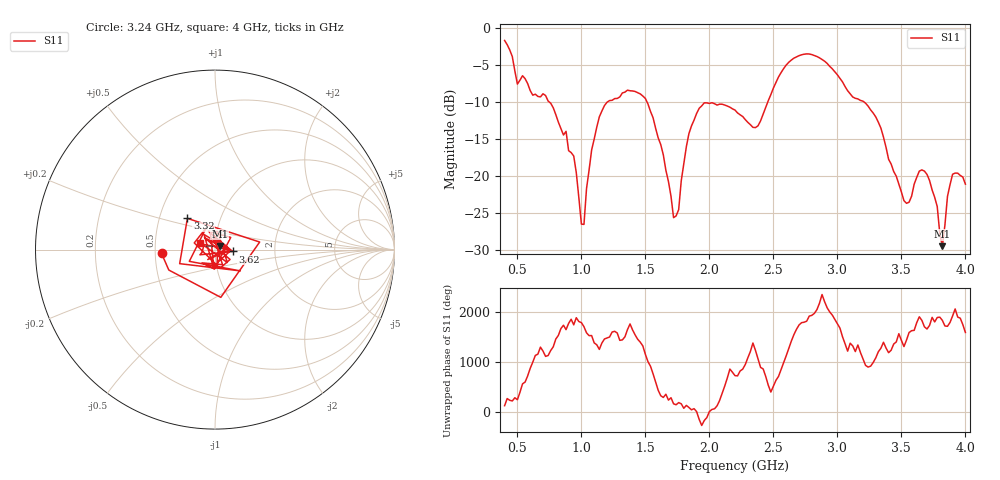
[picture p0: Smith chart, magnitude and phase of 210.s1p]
!Created with skrf (http://scikit-rf.org).
# Hz S RI R 50.0
!freq ReS11 ImS11
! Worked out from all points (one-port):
!   181 points, 400 MHz to 4 GHz, reference 50 ohm
!   lowest |S11| = -29.4 dB at 3.82 GHz (marker M1), VSWR 1.07, Z = 52.7 + j2.19 ohm
!   |S11| at or under -10 dB: 753 MHz to 1.199 GHz (445.8 MHz wide, 45.7 % of centre); 1.514 GHz to 2.455 GHz (940.4 MHz wide, 47.4 % of centre); 3.213 GHz to end of sweep
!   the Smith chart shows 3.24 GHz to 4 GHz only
!   S11 on the Smith chart (normalised r, x): 3.24 GHz: 0.54, -0.02; 3.32 GHz: 0.69, +0.26; 3.62 GHz: 1.22, -0.03; 4 GHz: 0.85, +0.06
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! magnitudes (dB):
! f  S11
! 400 MHz  -1.6
! 500 MHz  -7.5
! 720 MHz  -9.1
! 860 MHz  -14.4
! 940 MHz  -17.2
! 1 GHz  -26.4
! 1.02 GHz  -26.5
! 1.08 GHz  -16.4
! 1.14 GHz  -11.9
! 1.3 GHz  -9.3
! 1.5 GHz  -9.5
! 1.64 GHz  -17.1
! 1.72 GHz  -25.6
! 1.76 GHz  -24.5
! 1.84 GHz  -14.2
! 1.92 GHz  -10.8
! 2.2 GHz  -11.0
! 2.38 GHz  -13.1
! 2.66 GHz  -4.0
! 3.1 GHz  -8.8
! 3.24 GHz  -10.5
! 3.32 GHz  -12.7
! 3.56 GHz  -23.5
! 3.62 GHz  -20.1
! 3.72 GHz  -20.5
! 3.82 GHz  -29.4
! 3.9 GHz  -19.7
! 4 GHz  -21.0
